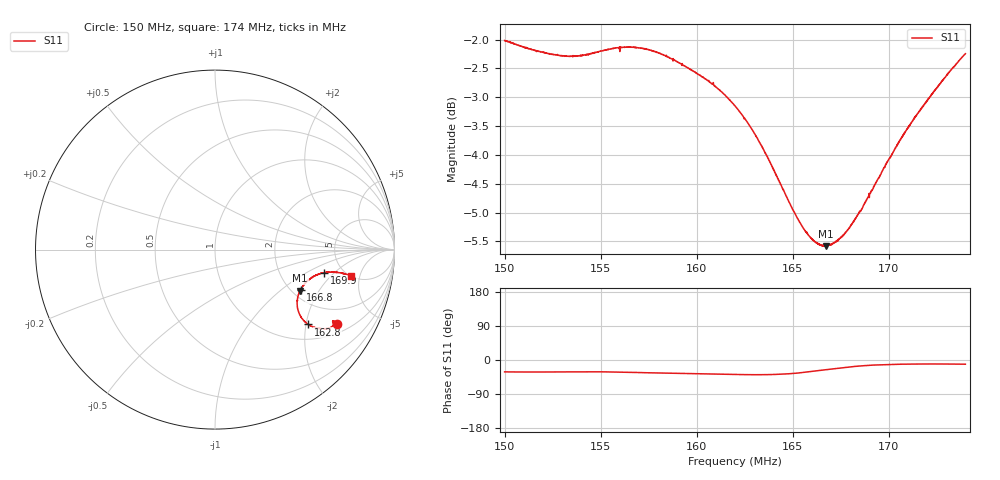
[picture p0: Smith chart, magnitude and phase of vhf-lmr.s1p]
! Calibrated averaged scanner-service zoom
# Hz S RI R 50
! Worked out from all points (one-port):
!   2001 points, 150 MHz to 174 MHz, reference 50 ohm
!   lowest |S11| = -5.6 dB at 166.7 MHz (marker M1), VSWR 3.22, Z = 110 - j69.4 ohm
!   |S11| at or under -10 dB: nowhere
!   S11 on the Smith chart (normalised r, x): 150 MHz: 1.36, -3.01; 162.8 MHz: 1.37, -2.06; 166.8 MHz: 2.23, -1.38; 169.9 MHz: 3.60, -1.51; 174 MHz: 4.98, -3.68
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1.5e8  0.6774 -0.4119
1.51548e8  0.662 -0.4081
1.53e8  0.6562 -0.4013
1.54308e8  0.6604 -0.3978
1.55244e8  0.6645 -0.4049
1.56e8  0.6579 -0.4106
1.5726e8  0.6513 -0.4293
1.5816e8  0.6357 -0.4373
1.59e8  0.6188 -0.4408
1.60752e8  0.5808 -0.439
1.62e8  0.5465 -0.4307
1.6284e8  0.5189 -0.4168
1.63416e8  0.4992 -0.4008
1.63932e8  0.4839 -0.3822
1.64484e8  0.4694 -0.357
1.65e8  0.4605 -0.329
1.6548e8  0.4575 -0.3016
1.65888e8  0.4594 -0.2762
1.66716e8  0.4735 -0.2288
1.66788e8  0.4764 -0.2246
1.67388e8  0.4962 -0.1952
1.68e8  0.5198 -0.1706
1.68936e8  0.5622 -0.1439
1.69524e8  0.5899 -0.132
1.69896e8  0.6071 -0.1289
1.71e8  0.6542 -0.1258
1.72248e8  0.7 -0.1294
1.74e8  0.7576 -0.1493
